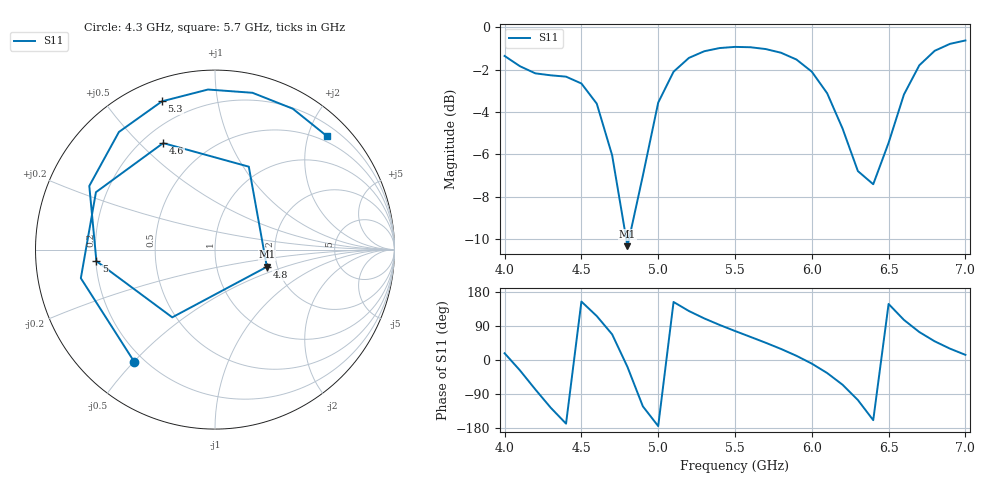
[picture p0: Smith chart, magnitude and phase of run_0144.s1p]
! Touchstone file exported from HFSS 2024.2.0
!  File:  C:/Users/wsak9/Desktop/Sim Fast/Widenad Patch/WP_AI_V1_sweep.aedt
!  Generated:  08:56:08 PM Oct 13, 2026
!  Design:  A1_model
!  Project:  WP_AI_V1_sweep
!  Setup:  Setup1
!  Solution:  Sweep
! Variables:
!  Air_gap = 3.82mm
!  Curve_Amp1 = 3.19
!  Curve_len1 = 1
!  Curve_pos = 12.375mm
!  Extra = 0.58mm
!  H_sub = 0.79mm
!  L_Patch = 20.75mm
!  L_Patch1 = 13.56mm
!  Sx = 1.98mm
!  Sy = 2.66mm
!  WS = 0.88mm
!  W_Patch = 12.08mm
!  W_Patch1 = 12.98mm
!Data is not renormalized
# GHz S MA
! Terminal data exported
! Port[1] = 1
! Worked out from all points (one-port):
!   31 points, 4 GHz to 7 GHz, reference per port
!   lowest |S11| = -10.3 dB at 4.8 GHz (marker M1), VSWR 1.88
!   |S11| at or under -10 dB: 4.792308 GHz to 4.809931 GHz (17.62 MHz wide, 0.367 % of centre)
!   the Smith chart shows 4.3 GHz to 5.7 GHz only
!   S11 on the Smith chart (normalised r, x): 4.3 GHz: 0.16, -0.50; 4.6 GHz: 0.28, +0.59; 4.8 GHz: 1.76, -0.37; 5 GHz: 0.20, -0.05; 5.3 GHz: 0.10, +0.70; 5.7 GHz: 0.39, +2.33
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4  0.8552 17.8
4.1  0.8088 -27.4
4.2  0.7781 -77.6
4.3  0.7699 -125.8
4.4  0.7643 -168.0
4.5  0.7364 154.3
4.6  0.66 116.0
4.7  0.4988 67.8
4.8  0.3044 -18.4
4.9  0.4463 -122.3
5  0.6638 -174.4
5.1  0.7851 153.1
5.2  0.8462 129.2
5.3  0.8774 109.7
5.5  0.8983 76.6
5.7  0.8879 45.5
5.9  0.8388 11.1
6  0.7853 -9.6
6.1  0.6984 -34.4
6.2  0.5769 -65.2
6.3  0.4577 -105.6
6.4  0.4261 -158.8
6.5  0.5336 147.9
6.6  0.6938 105.8
6.7  0.8129 73.8
6.8  0.8793 49.3
6.9  0.9133 29.9
7  0.9302 13.6
